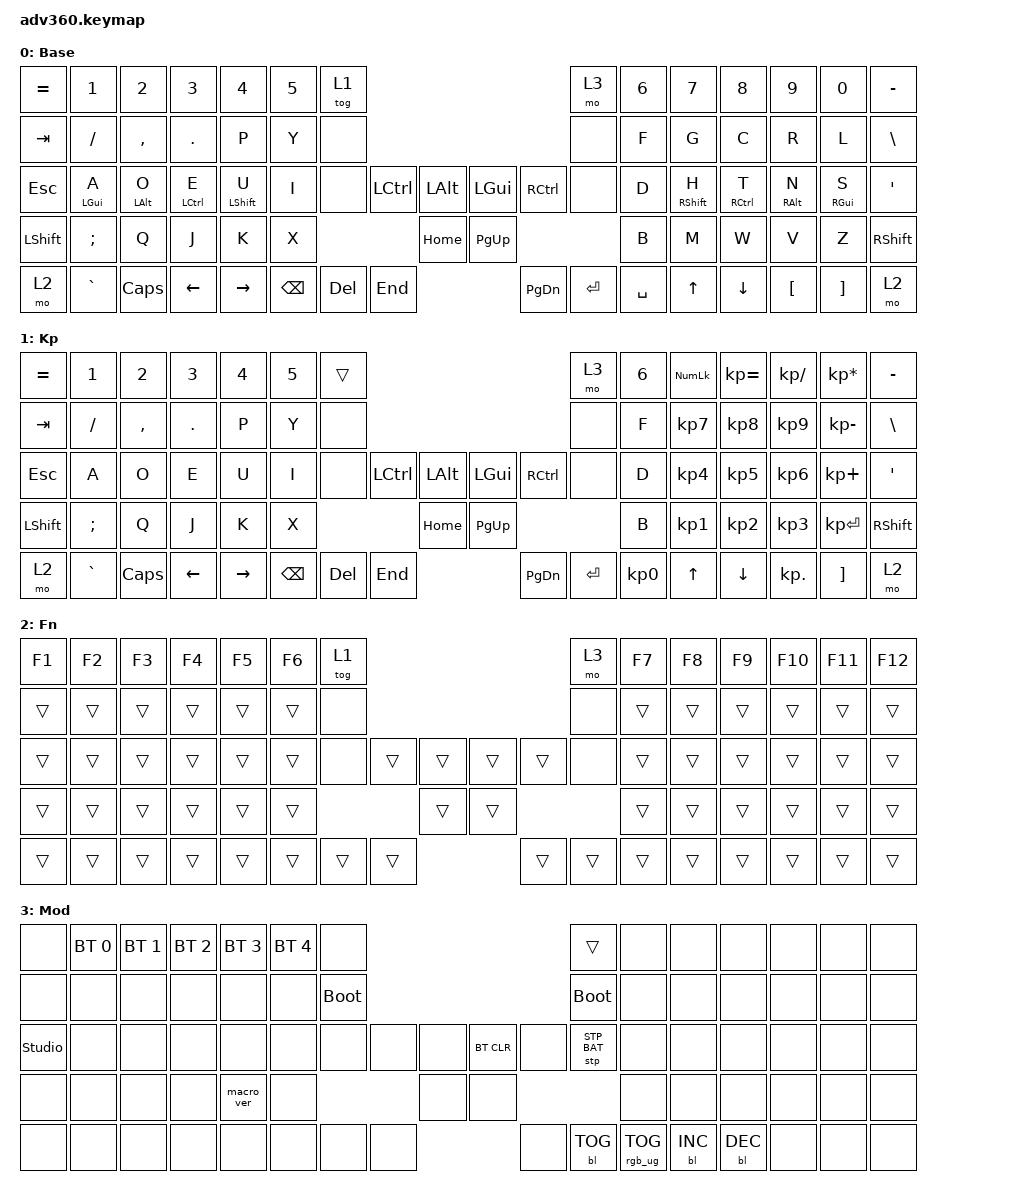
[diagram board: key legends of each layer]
#include <behaviors.dtsi>
#include <dt-bindings/zmk/keys.h>
#include <dt-bindings/zmk/bt.h>
#include <dt-bindings/zmk/rgb.h>
#include <dt-bindings/zmk/stp.h>
#include <dt-bindings/zmk/backlight.h>
#include <dt-bindings/zmk/pointing.h>

/ {
    behaviors {
      #include "macros.dtsi"
      #include "version.dtsi"

      hm: homerow_mods {
          compatible = "zmk,behavior-hold-tap";
          label = "HOMEROW_MODS";
          #binding-cells = <2>;
          tapping-term-ms = <200>;
          quick_tap_ms = <175>;
          flavor = "tap-preferred";
          bindings = <&kp>, <&kp>;
      };
    };

  macros {
    ZMK_MACRO(vim_write,
      bindings = <&kp ESC &kp LS(SEMICOLON) &kp W &kp A &kp RETURN>;
    )
    ZMK_MACRO(vim_close,
      bindings = <&kp ESC &kp LS(SEMICOLON) &kp Q &kp A &kp RETURN>;
    )
  };

  combos {
    compatible = "zmk,combos";
    combo_minus {
      timeout-ms = <50>;
      key-positions = <31 32>;
      bindings = <&kp MINUS>;
    };
    combo_underscore {
      timeout-ms = <50>;
      key-positions = <31 32>;
      bindings = <&kp UNDERSCORE>;
    };
    combo_lpar {
      timeout-ms = <50>;
      key-positions = <17 18>;
      bindings = <&kp LPAR>;
    };
    combo_rpar {
      timeout-ms = <50>;
      key-positions = <23 24>;
      bindings = <&kp RPAR>;
    };
    combo_caret {
      timeout-ms = <50>;
      key-positions = <55 56>;
      bindings = <&kp CARET>;
    };
    combo_dollar {
      timeout-ms = <50>;
      key-positions = <56 57>;
      bindings = <&kp DOLLAR>;
    };
    combo_vim_write {
      timeout-ms = <50>;
      key-positions = <30 31 32>;
      bindings = <&vim_write>;
    };
    combo_vim_close {
      timeout-ms = <50>;
      key-positions = <41 42 43>;
      bindings = <&vim_close>;
    };
  };

  keymap {
    compatible = "zmk,keymap";

    default_layer {
      display-name = "Base";
      bindings = <
        &kp EQUAL &kp N1     &kp N2     &kp N3      &kp N4       &kp N5 &tog 1                                                           &mo 3 &kp N6 &kp N7       &kp N8      &kp N9     &kp N0     &kp MINUS
        &kp TAB   &kp FSLH   &kp COMMA  &kp DOT     &kp P        &kp Y  &none                                                            &none &kp F  &kp G        &kp C       &kp R      &kp L      &kp BSLH
        &kp ESC   &hm LGUI A &hm LALT O &hm LCTRL E &hm LSHIFT U &kp I  &none           &kp LCTRL &kp LALT &kp LGUI  &kp RCTRL           &none &kp D  &hm RSHIFT H &hm RCTRL T &hm RALT N &hm RGUI S &kp SQT
        &kp LSHFT &kp SEMI   &kp Q      &kp J       &kp K        &kp X                            &kp HOME &kp PG_UP                           &kp B  &kp M        &kp W       &kp V      &kp Z      &kp RSHFT
        &mo 2     &kp GRAVE  &kp CAPS   &kp LEFT    &kp RIGHT                &kp BSPC &kp DEL   &kp END  &kp PG_DN &kp ENTER &kp SPACE                &kp UP       &kp DOWN    &kp LBKT   &kp RBKT   &mo 2
      >;
    };
    keypad {
      display-name = "Kp";
      bindings = <
        &kp EQUAL &kp N1    &kp N2    &kp N3   &kp N4     &kp N5 &trans                                                           &mo 3 &kp N6 &kp KP_NUM &kp KP_EQUAL &kp KP_DIVIDE &kp KP_MULTIPLY &kp MINUS
        &kp TAB   &kp FSLH  &kp COMMA &kp DOT  &kp P      &kp Y  &none                                                            &none &kp F  &kp KP_N7  &kp KP_N8    &kp KP_N9     &kp KP_MINUS    &kp BSLH
        &kp ESC   &kp A     &kp O     &kp E    &kp U      &kp I  &none           &kp LCTRL &kp LALT &kp LGUI  &kp RCTRL           &none &kp D  &kp KP_N4  &kp KP_N5    &kp KP_N6     &kp KP_PLUS     &kp SQT
        &kp LSHFT &kp SEMI  &kp Q     &kp J    &kp K      &kp X                            &kp HOME &kp PG_UP                           &kp B  &kp KP_N1  &kp KP_N2    &kp KP_N3     &kp KP_ENTER    &kp RSHFT
        &mo 2     &kp GRAVE &kp CAPS  &kp LEFT &kp RIGHT                &kp BSPC &kp DEL   &kp END  &kp PG_DN &kp ENTER &kp KP_N0              &kp UP     &kp DOWN     &kp KP_DOT    &kp RBKT        &mo 2
      >;
    };
    fn {
      display-name = "Fn";
      bindings = <
        &kp F1 &kp F2 &kp F3 &kp F4 &kp F5 &kp F6 &tog 1                                           &mo 3 &kp F7 &kp F8 &kp F9 &kp F10 &kp F11 &kp F12
        &trans &trans &trans &trans &trans &trans  &none                                           &none &trans &trans &trans &trans  &trans  &trans
        &trans &trans &trans &trans &trans &trans  &none        &trans &trans &trans &trans        &none &trans &trans &trans &trans  &trans  &trans
        &trans &trans &trans &trans &trans &trans                      &trans &trans                     &trans &trans &trans &trans  &trans  &trans
        &trans &trans &trans &trans &trans               &trans &trans &trans &trans &trans &trans              &trans &trans &trans  &trans  &trans
      >;
    };
    mod {
      display-name = "Mod";
      bindings = <
        &none &bt BT_SEL 0 &bt BT_SEL 1 &bt BT_SEL 2 &bt BT_SEL 3 &bt BT_SEL 4 &none                                                                     &trans                 &none        &none        &none        &none &none &none
        &none &none        &none        &none        &none        &none        &bootloader                                                               &bootloader            &none        &none        &none        &none &none &none
        &studio_unlock &none        &none        &none        &none        &none        &none                   &none &none &bt BT_CLR &none                      &stp STP_BAT &none        &none        &none        &none &none &none
        &none &none        &none        &none        &macro_ver   &none                                      &none &none                                                        &none        &none        &none        &none &none &none
        &none &none        &none        &none        &none                                       &none &none &none &none      &bl BL_TOG &rgb_ug RGB_TOG                                     &bl BL_INC   &bl BL_DEC   &none &none &none
      >;
    };
    extra1 { 
      display-name = "Red";    
      status = "reserved";
    };

    extra2 { 
      display-name = "Purple";    
      status = "reserved";
    };

    extra3 { 
      display-name = "Cyan";    
      status = "reserved";
    };

    extra4 { 
      display-name = "Yellow";    
      status = "reserved";
    };
  };
};
